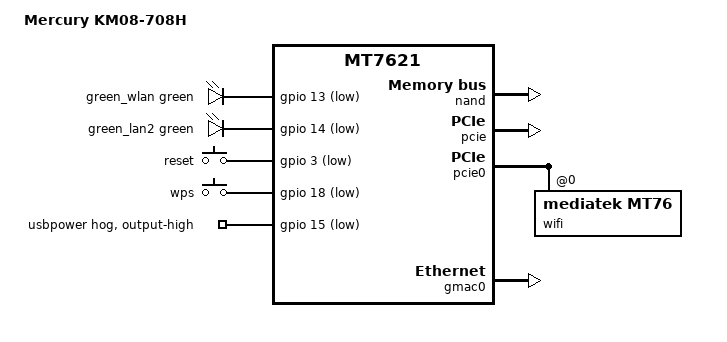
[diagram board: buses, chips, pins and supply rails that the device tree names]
// SPDX-License-Identifier: GPL-2.0-or-later OR MIT
// Copyright (c) 2023, Muhammad Al-Qady <m.ismael@gmail.com>

#include "mt7621.dtsi"

#include <dt-bindings/gpio/gpio.h>
#include <dt-bindings/input/input.h>
#include <dt-bindings/leds/common.h>

/ {
	compatible = "mercury,km08-708h", "mediatek,mt7621-soc";
	model = "Mercury KM08-708H";

	aliases {
		label-mac-device = &wan;
		led-boot = &led_wlan;
		led-failsafe = &led_wlan;
		led-upgrade = &led_wlan;
	};

	chosen {
		bootargs = "console=ttyS0,115200";
		bootargs-override = "console=ttyS0,115200";
	};

	leds {
		compatible = "gpio-leds";

		led_wlan: wlan {
			label = "green_wlan";
			gpios = <&gpio 13 GPIO_ACTIVE_LOW>;
			function = LED_FUNCTION_WLAN;
			color = <LED_COLOR_ID_GREEN>;
			linux,default-trigger = "phy0tpt";
		};

		led_lan2: lan2 {
			label = "green_lan2";
			gpios = <&gpio 14 GPIO_ACTIVE_LOW>;
			function = LED_FUNCTION_LAN;
			color = <LED_COLOR_ID_GREEN>;
			linux,default-trigger = "lan2";
		};
	};

	keys {
		compatible = "gpio-keys";

		reset {
			label = "reset";
			gpios = <&gpio 3 GPIO_ACTIVE_LOW>;
			linux,code = <KEY_RESTART>;
		};

		wps {
			label = "wps";
			gpios = <&gpio 18 GPIO_ACTIVE_LOW>;
			linux,code = <KEY_WPS_BUTTON>;
		};
	};
};

&gpio {
	usbpower-hog {
		gpio-hog;
		gpios = <15 GPIO_ACTIVE_LOW>;
		output-high;
		line-name = "usbpower";
	};
};

&nand {
	status = "okay";

	partitions {
		compatible = "fixed-partitions";
		#address-cells = <1>;
		#size-cells = <1>;

		partition@0 {
			label = "Bootloader";
			reg = <0x0 0x80000>;
			read-only;
		};

		partition@80000 {
			label = "Config";
			reg = <0x80000 0x80000>;
			read-only;
		};

		factory: partition@100000 {
			label = "Factory";
			reg = <0x100000 0x40000>;
			read-only;

			nvmem-layout {
				compatible = "fixed-layout";
				#address-cells = <1>;
				#size-cells = <1>;

				macaddr_factory_4: macaddr@4 {
					compatible = "mac-base";
					reg = <0x4 0x6>;
					#nvmem-cell-cells = <1>;
				};

				eeprom_factory_40000: eeprom@0 {
					reg = <0x0 0x8C04>;
				};
			};
		};

		partition@140000 {
			label = "kernel";
			reg = <0x140000 0x400000>;
		};

		partition@540000 {
			label = "ubi";
			reg = <0x540000 0x7a40000>;
		};
	};
};

&pcie {
	status = "okay";
};

&pcie0 {
	wifi@0,0 {
		compatible = "mediatek,mt76";
		reg = <0x0000 0 0 0 0>;
		nvmem-cells = <&eeprom_factory_40000>;
		nvmem-cell-names = "eeprom";
		mediatek,disable-radar-background;
		#address-cells = <1>;
		#size-cells = <0>;

		band@0 {
			reg = <0>;
			nvmem-cells = <&macaddr_factory_4 2>;
			nvmem-cell-names = "mac-address";
		};

		band@1 {
			reg = <1>;
			nvmem-cells = <&macaddr_factory_4 3>;
			nvmem-cell-names = "mac-address";
		};
	};
};

&gmac0 {
	status = "okay";
	nvmem-cells = <&macaddr_factory_4 1>;
	nvmem-cell-names = "mac-address";
};

&switch0 {
	ports {
		wan: port@0 {
			status = "okay";
			label = "wan";
			nvmem-cells = <&macaddr_factory_4 0>;
			nvmem-cell-names = "mac-address";
		};

		port@1 {
			status = "okay";
			label = "lan4";
		};

		port@2 {
			status = "okay";
			label = "lan3";
		};

		port@3 {
			status = "okay";
			label = "lan2";
		};

		port@4 {
			status = "okay";
			label = "lan1";
		};
	};
};
